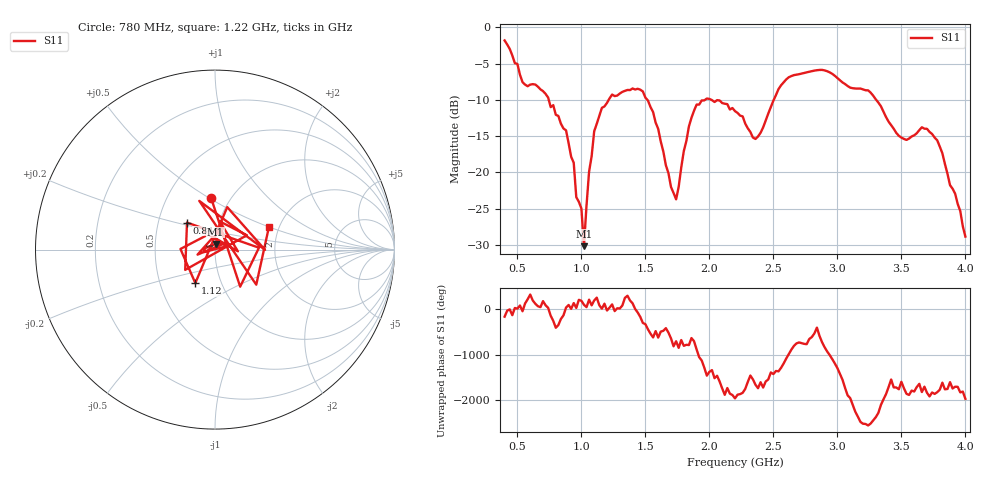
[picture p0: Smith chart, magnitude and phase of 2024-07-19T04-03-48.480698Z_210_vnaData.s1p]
!Created with skrf (http://scikit-rf.org).
# Hz S RI R 50.0
!freq ReS11 ImS11
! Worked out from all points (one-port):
!   181 points, 400 MHz to 4 GHz, reference 50 ohm
!   lowest |S11| = -30.2 dB at 1.02 GHz (marker M1), VSWR 1.06, Z = 50.2 + j3.1 ohm
!   |S11| at or under -10 dB: 745 MHz to 1.213 GHz (467.9 MHz wide, 47.8 % of centre); 2.017 GHz to 2.502 GHz (485.5 MHz wide, 21.5 % of centre); 3.304 GHz to end of sweep (the widest 3 of 4)
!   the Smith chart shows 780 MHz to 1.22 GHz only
!   S11 on the Smith chart (normalised r, x): 780 MHz: 0.81, +0.51; 840 MHz: 0.70, +0.22; 1.12 GHz: 0.75, -0.29; 1.22 GHz: 1.77, +0.49
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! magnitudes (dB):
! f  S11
! 400 MHz  -1.8
! 540 MHz  -7.5
! 780 MHz  -10.7
! 840 MHz  -13.3
! 860 MHz  -13.9
! 940 MHz  -18.7
! 960 MHz  -23.4
! 1 GHz  -25.0
! 1.02 GHz  -30.2
! 1.06 GHz  -19.9
! 1.12 GHz  -13.3
! 1.22 GHz  -9.8
! 1.3 GHz  -9.1
! 1.48 GHz  -8.8
! 1.6 GHz  -14.0
! 1.7 GHz  -22.0
! 1.74 GHz  -23.7
! 1.76 GHz  -22.0
! 1.84 GHz  -13.6
! 1.9 GHz  -10.6
! 2.2 GHz  -11.5
! 2.36 GHz  -15.4
! 2.66 GHz  -6.6
! 3.1 GHz  -8.3
! 3.24 GHz  -8.7
! 3.56 GHz  -15.3
! 3.78 GHz  -15.6
! 4 GHz  -28.9
